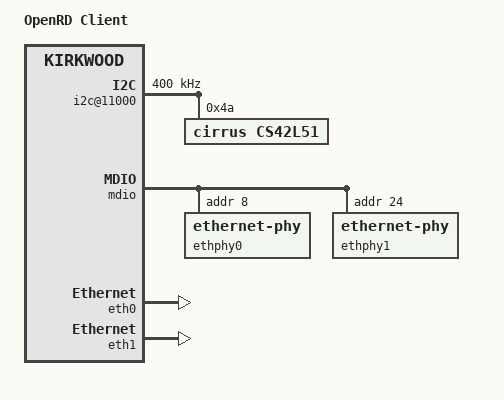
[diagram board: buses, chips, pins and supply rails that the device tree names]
// SPDX-License-Identifier: GPL-2.0
/*
 * Marvell OpenRD Client Board Description
 *
 * Andrew Lunn <andrew@lunn.ch>
 *
 * This file contains the definitions that are specific to OpenRD
 * client variant of the Marvell Kirkwood Development Board.
 */

/dts-v1/;

#include "kirkwood-openrd.dtsi"

/ {
	model = "OpenRD Client";
	compatible = "marvell,openrd-client", "marvell,openrd", "marvell,kirkwood-88f6281", "marvell,kirkwood";

	ocp@f1000000 {
		audio-controller@a0000 {
			status = "okay";
		};
		i2c@11000 {
			status = "okay";
			clock-frequency = <400000>;

			cs42l51: cs42l51@4a {
				compatible = "cirrus,cs42l51";
				reg = <0x4a>;
				#sound-dai-cells = <0>;
			};
		};
	};

	sound {
		compatible = "simple-audio-card";
		simple-audio-card,format = "i2s";
		simple-audio-card,mclk-fs = <256>;

		simple-audio-card,cpu {
			sound-dai = <&audio0 0>;
		};

		simple-audio-card,codec {
			sound-dai = <&cs42l51>;
		};
	};
};

&mdio {
	status = "okay";

	ethphy0: ethernet-phy@8 {
		reg = <8>;
	};
	ethphy1: ethernet-phy@24 {
		reg = <24>;
	};
};

&eth0 {
	status = "okay";
	ethernet0-port@0 {
		phy-handle = <&ethphy0>;
	};
};

&eth1 {
	status = "okay";
	ethernet1-port@0 {
		phy-handle = <&ethphy1>;
	};
};

